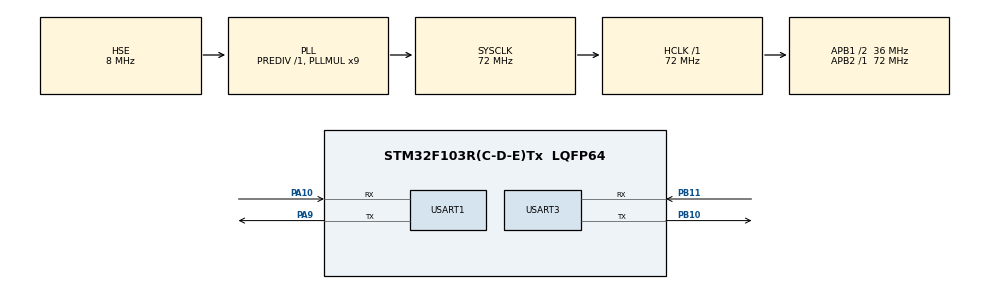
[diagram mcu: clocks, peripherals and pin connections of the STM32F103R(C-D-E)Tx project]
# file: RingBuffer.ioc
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Dma.Request0=USART1_RX
Dma.Request1=USART1_TX
Dma.USART1_RX.0.Direction=DMA_PERIPH_TO_MEMORY
Dma.USART1_RX.0.Instance=DMA1_Channel5
Dma.USART1_RX.0.MemDataAlignment=DMA_MDATAALIGN_BYTE
Dma.USART1_RX.0.MemInc=DMA_MINC_ENABLE
Dma.USART1_RX.0.Mode=DMA_NORMAL
Dma.USART1_RX.0.PeriphDataAlignment=DMA_PDATAALIGN_BYTE
Dma.USART1_RX.0.PeriphInc=DMA_PINC_DISABLE
Dma.USART1_RX.0.Priority=DMA_PRIORITY_LOW
Dma.USART1_TX.1.Direction=DMA_MEMORY_TO_PERIPH
Dma.USART1_TX.1.Instance=DMA1_Channel4
Dma.USART1_TX.1.MemDataAlignment=DMA_MDATAALIGN_BYTE
Dma.USART1_TX.1.MemInc=DMA_MINC_ENABLE
Dma.USART1_TX.1.Mode=DMA_NORMAL
Dma.USART1_TX.1.PeriphDataAlignment=DMA_PDATAALIGN_BYTE
Dma.USART1_TX.1.PeriphInc=DMA_PINC_DISABLE
Dma.USART1_TX.1.Priority=DMA_PRIORITY_LOW
Mcu.Family=STM32F1
Mcu.Name=STM32F103R(C-D-E)Tx
Mcu.Package=LQFP64
NVIC.DMA1_Channel4_IRQn=true\:0\:0\:false\:false\:true\:false\:true\:true
NVIC.DMA1_Channel5_IRQn=true\:0\:0\:false\:false\:true\:false\:true\:true
NVIC.PriorityGroup=NVIC_PRIORITYGROUP_4
NVIC.USART1_IRQn=true\:0\:0\:false\:false\:true\:true\:true\:true
NVIC.USART3_IRQn=true\:0\:0\:false\:false\:true\:true\:true\:true
PA10.Mode=Asynchronous
PA10.Signal=USART1_RX
PA13.Mode=Serial_Wire
PA13.Signal=SYS_JTMS-SWDIO
PA14.Mode=Serial_Wire
PA14.Signal=SYS_JTCK-SWCLK
PA9.Mode=Asynchronous
PA9.Signal=USART1_TX
PB10.Mode=Asynchronous
PB10.Signal=USART3_TX
PB11.Mode=Asynchronous
PB11.Signal=USART3_RX
PD0-OSC_IN.Mode=HSE-External-Oscillator
PD0-OSC_IN.Signal=RCC_OSC_IN
PD1-OSC_OUT.Mode=HSE-External-Oscillator
PD1-OSC_OUT.Signal=RCC_OSC_OUT
ProjectManager.HeapSize=0x200
ProjectManager.StackSize=0x400
ProjectManager.TargetToolchain=Makefile
RCC.AHBFreq_Value=72000000
RCC.APB1CLKDivider=RCC_HCLK_DIV2
RCC.APB1Freq_Value=36000000
RCC.APB1TimFreq_Value=72000000
RCC.APB2Freq_Value=72000000
RCC.APB2TimFreq_Value=72000000
RCC.HCLKFreq_Value=72000000
RCC.PLLMUL=RCC_PLL_MUL9
RCC.PLLSourceVirtual=RCC_PLLSOURCE_HSE
RCC.SYSCLKFreq_VALUE=72000000
RCC.SYSCLKSource=RCC_SYSCLKSOURCE_PLLCLK
RCC.USBFreq_Value=72000000
USART1.VirtualMode=VM_ASYNC
USART3.VirtualMode=VM_ASYNC
board=custom

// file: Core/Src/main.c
/* USER CODE BEGIN Header */
/**
 ******************************************************************************
 * @file           : main.c
 * @brief          : Main program body
 ******************************************************************************
 * @attention
 *
 * Copyright (c) 2023 STMicroelectronics.
 * All rights reserved.
 *
 * This software is licensed under terms that can be found in the LICENSE file
 * in the root directory of this software component.
 * If no LICENSE file comes with this software, it is provided AS-IS.
 *
 ******************************************************************************
 */
/* USER CODE END Header */
#include "main.h"
#include "dma.h"
#include "usart.h"
#include "gpio.h"

/* USER CODE BEGIN Includes */
#include "ringbuffer.h"
#include <stdio.h>
/* USER CODE END Includes */

void SystemClock_Config(void);

/* USER CODE BEGIN 0 */
static uint8_t buffer[1024];
uint8_t ch;
uint8_t flag;
uint8_t tch;

Ring_Buffer ring_buffer = {
    buffer, sizeof(buffer), 0, 0, 0, 0};
/* USER CODE END 0 */

int main(void)
{

    /* MCU Configuration--------------------------------------------------------*/

    /* Reset of all peripherals, Initializes the Flash interface and the Systick. */
    HAL_Init();

    /* Configure the system clock */
    SystemClock_Config();

    /* Initialize all configured peripherals */
    MX_GPIO_Init();
    MX_DMA_Init();
    MX_USART1_UART_Init();
    MX_USART3_UART_Init();
    /* USER CODE BEGIN 2 */
    HAL_UART_Receive_IT(&huart1, &ch, 1);
    /* USER CODE END 2 */

    /* Infinite loop */
    while (1) {

        /* USER CODE BEGIN 3 */
        flag = Ring_Buffer_Read_OneByte(&ring_buffer, &tch);
        if (flag == 1)
            printf("%c\r\n", tch);
    }
    /* USER CODE END 3 */
}

void SystemClock_Config(void)
{
    RCC_OscInitTypeDef RCC_OscInitStruct = {0};
    RCC_ClkInitTypeDef RCC_ClkInitStruct = {0};

    /** Initializes the RCC Oscillators according to the specified parameters
     * in the RCC_OscInitTypeDef structure.
     */
    RCC_OscInitStruct.OscillatorType = RCC_OSCILLATORTYPE_HSE;
    RCC_OscInitStruct.HSEState       = RCC_HSE_ON;
    RCC_OscInitStruct.HSEPredivValue = RCC_HSE_PREDIV_DIV1;
    RCC_OscInitStruct.HSIState       = RCC_HSI_ON;
    RCC_OscInitStruct.PLL.PLLState   = RCC_PLL_ON;
    RCC_OscInitStruct.PLL.PLLSource  = RCC_PLLSOURCE_HSE;
    RCC_OscInitStruct.PLL.PLLMUL     = RCC_PLL_MUL9;
    if (HAL_RCC_OscConfig(&RCC_OscInitStruct) != HAL_OK) {
        Error_Handler();
    }

    /** Initializes the CPU, AHB and APB buses clocks
     */
    RCC_ClkInitStruct.ClockType      = RCC_CLOCKTYPE_HCLK | RCC_CLOCKTYPE_SYSCLK | RCC_CLOCKTYPE_PCLK1 | RCC_CLOCKTYPE_PCLK2;
    RCC_ClkInitStruct.SYSCLKSource   = RCC_SYSCLKSOURCE_PLLCLK;
    RCC_ClkInitStruct.AHBCLKDivider  = RCC_SYSCLK_DIV1;
    RCC_ClkInitStruct.APB1CLKDivider = RCC_HCLK_DIV2;
    RCC_ClkInitStruct.APB2CLKDivider = RCC_HCLK_DIV1;

    if (HAL_RCC_ClockConfig(&RCC_ClkInitStruct, FLASH_LATENCY_2) != HAL_OK) {
        Error_Handler();
    }
}

/* USER CODE BEGIN 4 */
void HAL_UART_RxCpltCallback(UART_HandleTypeDef *huart)
{
    if (huart->Instance == USART1) {
        Ring_Buffer_Write_OneByte(&ring_buffer, ch);
        HAL_UART_Receive_IT(&huart1, &ch, 1);
    }
}
/* USER CODE END 4 */

void Error_Handler(void)
{
    __disable_irq();
    while (1) {
    }
}
